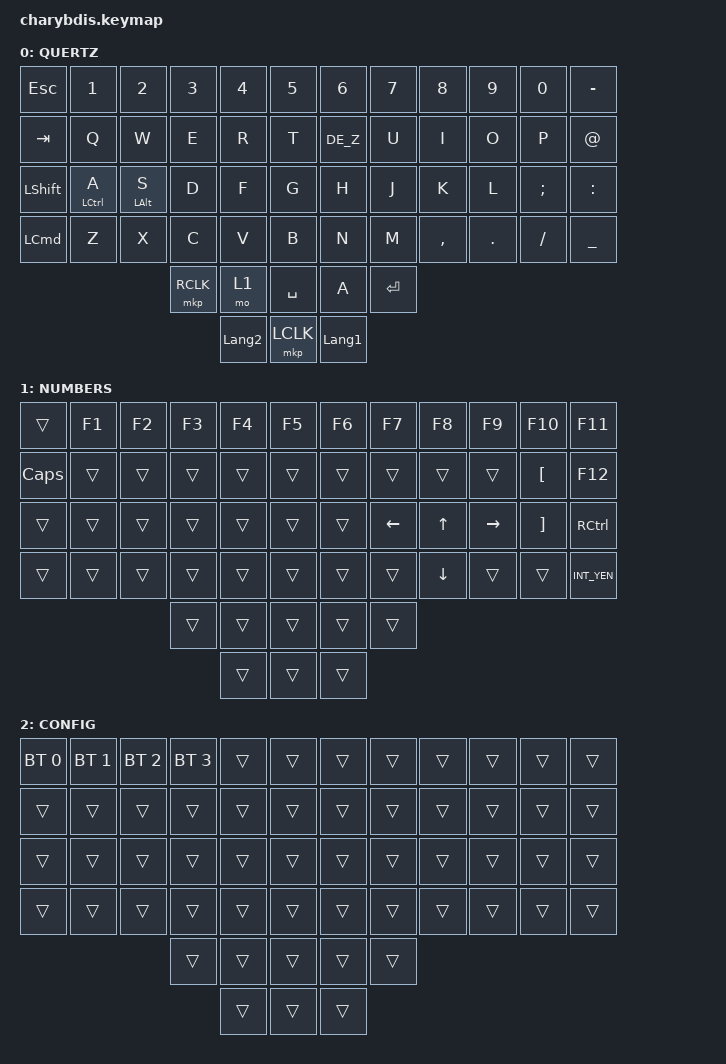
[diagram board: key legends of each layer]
#include "keys_de_swiss.h"
#include <dt-bindings/zmk/mouse.h>
#include <behaviors/mouse_keys.dtsi>
#include <behaviors.dtsi>
#include <dt-bindings/zmk/bt.h>
#include <dt-bindings/zmk/keys.h>
#include <dt-bindings/zmk/pointing.h>

// / {
//     chosen { zmk,matrix_transform = &default_transform; };
// };

/ {
    /* input config for mouse move mode */

    trackball_listener {
        compatible = "zmk,input-behavior-listener";
        device = <&vtrackball>;
        layers = <0 3 6>;
        evt-type = <INPUT_EV_REL>;
        x-input-code = <INPUT_REL_X>;
        y-input-code = <INPUT_REL_Y>;
        scale-multiplier = <1>;
        scale-divisor = <2>;

        // bindings = <&ib_toggle_layer 7>;
    };

    /* input config for snipe mode */

    trackball_snipe_listener {
        compatible = "zmk,input-behavior-listener";
        device = <&vtrackball>;
        layers = <10>;
        evt-type = <INPUT_EV_REL>;
        x-input-code = <INPUT_REL_X>;
        y-input-code = <INPUT_REL_Y>;
        scale-multiplier = <1>;
        scale-divisor = <4>;
    };

    /* input config for mouse scroll mode */

    trackball_scroll_listener {
        compatible = "zmk,input-behavior-listener";
        device = <&vtrackball>;
        layers = <9>;
        evt-type = <INPUT_EV_REL>;
        x-input-code = <INPUT_REL_MISC>;
        y-input-code = <INPUT_REL_WHEEL>;
        y-invert;
        bindings = <&ib_wheel_scaler 1 14>;
    };

    /* define a resolution down scaler only for INPUT_REL_WHEEL */

    ib_wheel_scaler: ib_wheel_scaler {
        compatible = "zmk,input-behavior-scaler";
        #binding-cells = <2>;
        evt-type = <INPUT_EV_REL>;
        input-code = <INPUT_REL_WHEEL>;
    };

    /* adjust cooldown waiting period for mouse key layer after activated */

    ib_toggle_layer: ib_toggle_layer {
        compatible = "zmk,input-behavior-tog-layer";
        #binding-cells = <1>;
        time-to-live-ms = <750>;
    };

    // #define QUERTZ    0
    // #define NUMBERS   1
    // #define NAV-FUN   2
    // #define MAC       3
    // #define MAC-NUM   4
    // #define MAC-NAV   5
    // #define GAME      6
    // #define GAME-NUM  7
    // #define GAME-NAV  8
    // #define SCROLL    9
    // #define SNIPER   10
    // #define FN       11

    combos {
        compatible = "zmk,combos";

        rh_leftClick {
            bindings = <&mkp LCLK>;
            key-positions = <43 44>;
        };

        rh_rightClick {
            bindings = <&mkp RCLK>;
            key-positions = <44 45>;
        };

        rh_middleClick {
            bindings = <&mkp MCLK>;
            key-positions = <44 45 43>;
        };

        lh_leftClick {
            bindings = <&mkp LCLK>;
            key-positions = <40 39>;
        };

        lh_rightClick {
            bindings = <&mkp RCLK>;
            key-positions = <38 39>;
        };

        lh_middleClick {
            bindings = <&mkp MCLK>;
            key-positions = <38 39 40>;
        };

        functional3 {
            bindings = <&kp LA(LC(LEFT_COMMAND))>;
            key-positions = <36 38 37>;
        };

        toCONFIG {
            bindings = <&tog 2>;
            key-positions = <53 36>;
        };
    };

    behaviors {
        hmr: hmr {
            compatible = "zmk,behavior-hold-tap";
            label = "HMR";
            bindings = <&kp>, <&kp>;

            #binding-cells = <2>;
            tapping-term-ms = <190>;
            quick-tap-ms = <175>;
            flavor = "balanced";
            hold-trigger-key-positions = <0 1 2 3 4 5 12 13 14 15 16 17 24 25 26 27 28 29 36 37 38 39 40 41 48 49 50 53 54 51 52 55>;
            hold-trigger-on-release;
        };

        hml: hml {
            compatible = "zmk,behavior-hold-tap";
            label = "HML";
            bindings = <&kp>, <&kp>;

            #binding-cells = <2>;
            tapping-term-ms = <190>;
            quick-tap-ms = <175>;
            flavor = "balanced";
            hold-trigger-key-positions = <48 49 50 53 54 51 52 55 6 7 8 9 10 11 18 19 20 21 22 23 30 31 32 33 34 35 42 43 44 45 46 47 51 52>;
            hold-trigger-on-release;
        };
    };

    keymap {
        compatible = "zmk,keymap";

        default_layer {
            bindings = <
&kp ESCAPE        &kp N1        &kp N2           &kp N3     &kp N4          &kp N5       &kp N6          &kp N7     &kp N8     &kp N9   &kp N0    &kp MINUS
&kp TAB           &kp Q         &kp W            &kp E      &kp R           &kp T        &kp DE_Z        &kp U      &kp I      &kp O    &kp P     &kp AT
&kp LEFT_SHIFT    &hml LCTRL A  &hml LEFT_ALT S  &kp D      &kp F           &kp G        &kp H           &kp J      &kp K      &kp L    &kp SEMI  &kp COLON
&kp LEFT_COMMAND  &kp Z         &kp X            &kp C      &kp V           &kp B        &kp N           &kp M      &kp COMMA  &kp DOT  &kp FSLH  &kp UNDER
                                                 &mkp RCLK  &mo 1           &kp SPACE    &kp A           &kp ENTER
                                                            &kp LANGUAGE_2  &mkp LCLK    &kp LANGUAGE_1
            >;

            label = "QUERTZ";
        };

        functions {
            bindings = <
&trans        &kp F1  &kp F2  &kp F3  &kp F4  &kp F5    &kp F6  &kp F7          &kp F8          &kp F9           &kp F10   &kp F11
&kp CAPSLOCK  &trans  &trans  &trans  &trans  &trans    &trans  &trans          &trans          &trans           &kp LBKT  &kp F12
&trans        &trans  &trans  &trans  &trans  &trans    &trans  &kp LEFT_ARROW  &kp UP          &kp RIGHT_ARROW  &kp RBKT  &kp RIGHT_CONTROL
&trans        &trans  &trans  &trans  &trans  &trans    &trans  &trans          &kp DOWN_ARROW  &trans           &trans    &kp INT_YEN
                              &trans  &trans  &trans    &trans  &trans
                                      &trans  &trans    &trans
            >;

            label = "NUMBERS";
        };

        CONFIG {
            bindings = <
&bt BT_SEL 0  &bt BT_SEL 1  &bt BT_SEL 2  &bt BT_SEL 3  &trans  &trans    &trans  &trans  &trans  &trans  &trans  &trans
&trans        &trans        &trans        &trans        &trans  &trans    &trans  &trans  &trans  &trans  &trans  &trans
&trans        &trans        &trans        &trans        &trans  &trans    &trans  &trans  &trans  &trans  &trans  &trans
&trans        &trans        &trans        &trans        &trans  &trans    &trans  &trans  &trans  &trans  &trans  &trans
                                          &trans        &trans  &trans    &trans  &trans
                                                        &trans  &trans    &trans
            >;
        };
    };
};
